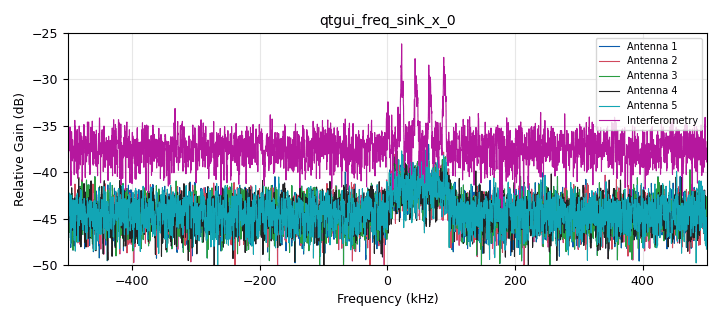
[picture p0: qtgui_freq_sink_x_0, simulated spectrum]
options:
  parameters:
    author: SETI Institute
    generate_options: qt_gui
    id: Interferometry
    output_language: python
    title: Interferometry
  states: {}

blocks:
- name: bandwidth
  id: variable_qtgui_entry
  parameters:
    label: Signal Bandwidth (kHz)
    type: real
    value: '100'
  states: {}
- name: delay_diff
  id: variable_qtgui_entry
  parameters:
    label: Delay difference (samples)
    type: int
    value: '0'
  states: {}
- name: delay_rate_diff
  id: variable_qtgui_entry
  parameters:
    label: Delay rate difference (ppm)
    type: real
    value: '0'
  states: {}
- name: freq_diff
  id: variable_qtgui_entry
  parameters:
    label: Frequency difference (Hz)
    type: real
    value: '0'
  states: {}
- name: frequency
  id: variable_qtgui_entry
  parameters:
    label: Signal frequency (kHz)
    type: real
    value: '50'
  states: {}
- name: phase_diff
  id: variable_qtgui_entry
  parameters:
    label: Phase difference (deg)
    type: real
    value: '0'
  states: {}
- name: samp_rate
  id: variable
  parameters:
    value: '1000000'
  states: {}
- name: snr
  id: variable_qtgui_entry
  parameters:
    label: Signal to Noise Ratio (SNR)
    type: real
    value: '0'
  states: {}
- name: analog_noise_source_x_1
  id: analog_noise_source_x
  parameters:
    amp: np.sqrt(10**(snr/10.0)/(samp_rate/(bandwidth*1e3)))
    noise_type: analog.GR_GAUSSIAN
    seed: '0'
    type: complex
  states: {}
- name: analog_sig_source_x_0
  id: analog_sig_source_x
  parameters:
    amp: '1'
    freq: frequency*1e3
    offset: '0'
    phase: '0'
    samp_rate: samp_rate
    type: complex
    waveform: analog.GR_COS_WAVE
  states: {}
- name: blocks_add_xx_1
  id: blocks_add_xx
  parameters:
    num_inputs: '5'
    type: complex
  states: {}
- name: blocks_delay_0
  id: blocks_delay
  parameters:
    delay: '45'
    type: complex
  states: {}
- name: blocks_delay_0_0
  id: blocks_delay
  parameters:
    delay: '90'
    type: complex
  states: {}
- name: blocks_delay_0_0_0
  id: blocks_delay
  parameters:
    delay: '135'
    type: complex
  states: {}
- name: blocks_delay_0_0_0_0
  id: blocks_delay
  parameters:
    delay: '180'
    type: complex
  states: {}
- name: blocks_multiply_xx_0
  id: blocks_multiply_xx
  parameters:
    type: complex
  states: {}
- name: blocks_throttle2_0
  id: blocks_throttle2
  parameters:
    samples_per_second: samp_rate
    type: complex
  states: {}
- name: channels_channel_model_0
  id: channels_channel_model
  parameters:
    epsilon: 1.0 + delay_rate_diff * 1e-6
    freq_offset: freq_diff / samp_rate
    noise_voltage: '1.0'
    seed: '2'
    taps: np.exp(1j * np.deg2rad(phase_diff))
  states: {}
- name: channels_channel_model_0_0
  id: channels_channel_model
  parameters:
    epsilon: '1.0'
    freq_offset: '0.0'
    noise_voltage: '1.0'
    seed: '1'
    taps: '1.0'
  states: {}
- name: channels_channel_model_0_1
  id: channels_channel_model
  parameters:
    epsilon: 1.0 + delay_rate_diff * 1e-6
    freq_offset: freq_diff / samp_rate
    noise_voltage: '1.0'
    seed: '3'
    taps: np.exp(1j * np.deg2rad(phase_diff))
  states: {}
- name: channels_channel_model_0_1_0
  id: channels_channel_model
  parameters:
    epsilon: 1.0 + delay_rate_diff * 1e-6
    freq_offset: freq_diff / samp_rate
    noise_voltage: '1.0'
    seed: '4'
    taps: np.exp(1j * np.deg2rad(phase_diff))
  states: {}
- name: channels_channel_model_0_1_0_0
  id: channels_channel_model
  parameters:
    epsilon: 1.0 + delay_rate_diff * 1e-6
    freq_offset: freq_diff / samp_rate
    noise_voltage: '1.0'
    seed: '5'
    taps: np.exp(1j * np.deg2rad(phase_diff))
  states: {}
- name: import_0
  id: import
  parameters:
    imports: import numpy as np
  states: {}
- name: note_0
  id: note
  parameters:
    note: Antenna 1
  states: {}
- name: note_0_0
  id: note
  parameters:
    note: Antenna 2
  states: {}
- name: note_0_0_0
  id: note
  parameters:
    note: Antenna 3
  states: {}
- name: note_0_0_0_0
  id: note
  parameters:
    note: Antenna 4
  states: {}
- name: note_0_0_0_0_0
  id: note
  parameters:
    note: Antenna 5
  states: {}
- name: note_1
  id: note
  parameters:
    note: Simulated Signal
  states: {}
- name: pfb_arb_resampler_xxx_0
  id: pfb_arb_resampler_xxx
  parameters:
    atten: '100'
    nfilts: '32'
    rrate: samp_rate/(bandwidth*1e3)
    type: ccf
  states: {}
- name: qtgui_freq_sink_x_0
  id: qtgui_freq_sink_x
  parameters:
    average: '0.05'
    bw: samp_rate
    color4: '"cyan"'
    color5: '"magenta"'
    color6: '"black"'
    fc: '0'
    fftsize: '4096'
    label1: Antenna 1
    label2: Antenna 2
    label3: Antenna 3
    label4: Antenna 4
    label5: Antenna 5
    label6: Interferometry
    nconnections: '6'
    type: complex
    ymax: '-25'
    ymin: '-50'
  states: {}
- name: virtual_sink_0
  id: virtual_sink
  parameters:
    stream_id: astro_signal
  states: {}
- name: virtual_source_0
  id: virtual_source
  parameters:
    stream_id: astro_signal
  states: {}
- name: virtual_source_0_0
  id: virtual_source
  parameters:
    stream_id: astro_signal
  states: {}
- name: virtual_source_0_0_0
  id: virtual_source
  parameters:
    stream_id: astro_signal
  states: {}
- name: virtual_source_0_0_0_0
  id: virtual_source
  parameters:
    stream_id: astro_signal
  states: {}
- name: virtual_source_0_0_0_0_0
  id: virtual_source
  parameters:
    stream_id: astro_signal
  states: {}

connections:
- [analog_noise_source_x_1, '0', pfb_arb_resampler_xxx_0, '0']
- [analog_sig_source_x_0, '0', blocks_multiply_xx_0, '1']
- [blocks_add_xx_1, '0', qtgui_freq_sink_x_0, '5']
- [blocks_delay_0, '0', blocks_add_xx_1, '1']
- [blocks_delay_0, '0', qtgui_freq_sink_x_0, '1']
- [blocks_delay_0_0, '0', blocks_add_xx_1, '2']
- [blocks_delay_0_0, '0', qtgui_freq_sink_x_0, '2']
- [blocks_delay_0_0_0, '0', blocks_add_xx_1, '3']
- [blocks_delay_0_0_0, '0', qtgui_freq_sink_x_0, '3']
- [blocks_delay_0_0_0_0, '0', blocks_add_xx_1, '4']
- [blocks_delay_0_0_0_0, '0', qtgui_freq_sink_x_0, '4']
- [blocks_multiply_xx_0, '0', blocks_throttle2_0, '0']
- [blocks_throttle2_0, '0', virtual_sink_0, '0']
- [channels_channel_model_0, '0', blocks_delay_0, '0']
- [channels_channel_model_0_0, '0', blocks_add_xx_1, '0']
- [channels_channel_model_0_0, '0', qtgui_freq_sink_x_0, '0']
- [channels_channel_model_0_1, '0', blocks_delay_0_0, '0']
- [channels_channel_model_0_1_0, '0', blocks_delay_0_0_0, '0']
- [channels_channel_model_0_1_0_0, '0', blocks_delay_0_0_0_0, '0']
- [pfb_arb_resampler_xxx_0, '0', blocks_multiply_xx_0, '0']
- [virtual_source_0, '0', channels_channel_model_0_0, '0']
- [virtual_source_0_0, '0', channels_channel_model_0, '0']
- [virtual_source_0_0_0, '0', channels_channel_model_0_1, '0']
- [virtual_source_0_0_0_0, '0', channels_channel_model_0_1_0, '0']
- [virtual_source_0_0_0_0_0, '0', channels_channel_model_0_1_0_0, '0']

metadata:
  file_format: 1
  grc_version: 3.10.12.0
